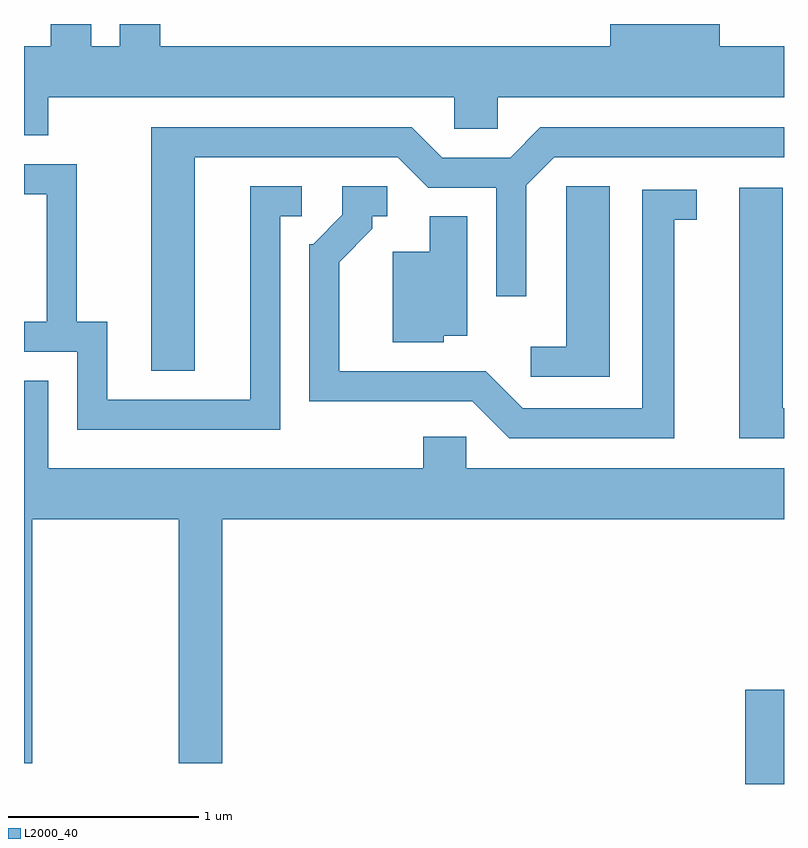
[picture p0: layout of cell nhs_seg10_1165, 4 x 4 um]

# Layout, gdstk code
import gdstk
lib = gdstk.Library(unit=1e-6, precision=1e-09)
def R(c, l, rs):  # rectangles x0, y0, x1, y1
    for r in rs: c.add(gdstk.rectangle(r[:2], r[2:], *l))
def P(c, l, *ps):  # polygons
    for p in ps: c.add(gdstk.Polygon(p, *l))
L2000_40 = (2000, 40)

nhs_seg10_1165 = lib.new_cell('nhs_seg10_1165')
R(nhs_seg10_1165, L2000_40, [(223.406,2112.522,223.611,2113.019)])
P(nhs_seg10_1165, L2000_40, [(219.739,2116.136),(221.876,2116.136),(221.876,2115.971),(222.104,2115.971),(222.104,2116.136),(223.611,2116.136),(223.611,2116.404),(223.274,2116.404),(223.274,2116.522),(222.696,2116.522),(222.696,2116.404),(220.329,2116.404),(220.329,2116.522),(220.116,2116.522),(220.116,2116.404),(219.964,2116.404),(219.964,2116.522),(219.751,2116.522),(219.751,2116.404),(219.611,2116.404),(219.611,2115.936),(219.739,2115.936)],
  [(220.509,2115.821),(221.579,2115.821),(221.739,2115.661),(222.096,2115.661),(222.096,2115.088),(222.254,2115.088),(222.254,2115.674),(222.402,2115.821),(223.611,2115.821),(223.611,2115.979),(222.329,2115.979),(222.169,2115.819),(221.812,2115.819),(221.652,2115.979),(220.281,2115.979),(220.281,2114.696),(220.509,2114.696)],
  [(220.959,2115.511),(221.073,2115.511),(221.073,2115.669),(220.801,2115.669),(220.801,2114.544),(220.049,2114.544),(220.049,2114.954),(219.889,2114.954),(219.889,2115.784),(219.611,2115.784),(219.611,2115.626),(219.731,2115.626),(219.731,2114.954),(219.611,2114.954),(219.611,2114.796),(219.891,2114.796),(219.891,2114.386),(220.959,2114.386)],
  [(222.694,2115.669),(222.466,2115.669),(222.466,2114.824),(222.278,2114.824),(222.278,2114.666),(222.694,2114.666)],
  [(223.034,2115.491),(223.153,2115.491),(223.153,2115.649),(222.866,2115.649),(222.866,2114.499),(222.237,2114.499),(222.042,2114.694),(221.269,2114.694),(221.269,2115.269),(221.444,2115.444),(221.444,2115.511),(221.523,2115.511),(221.523,2115.669),(221.286,2115.669),(221.286,2115.517),(221.134,2115.364),(221.111,2115.364),(221.111,2114.536),(221.969,2114.536),(222.164,2114.341),(223.034,2114.341)],
  [(223.611,2114.499),(223.604,2114.499),(223.604,2115.659),(223.376,2115.659),(223.376,2114.341),(223.611,2114.341)],
  [(221.819,2114.881),(221.944,2114.881),(221.944,2115.509),(221.746,2115.509),(221.746,2115.324),(221.551,2115.324),(221.551,2114.846),(221.819,2114.846)],
  [(219.654,2113.916),(220.426,2113.916),(220.426,2112.631),(220.654,2112.631),(220.654,2113.916),(223.611,2113.916),(223.611,2114.184),(221.939,2114.184),(221.939,2114.349),(221.711,2114.349),(221.711,2114.184),(219.739,2114.184),(219.739,2114.644),(219.611,2114.644),(219.611,2112.631),(219.654,2112.631)])

lib.write_gds('nhs_seg10_1165.gds')
